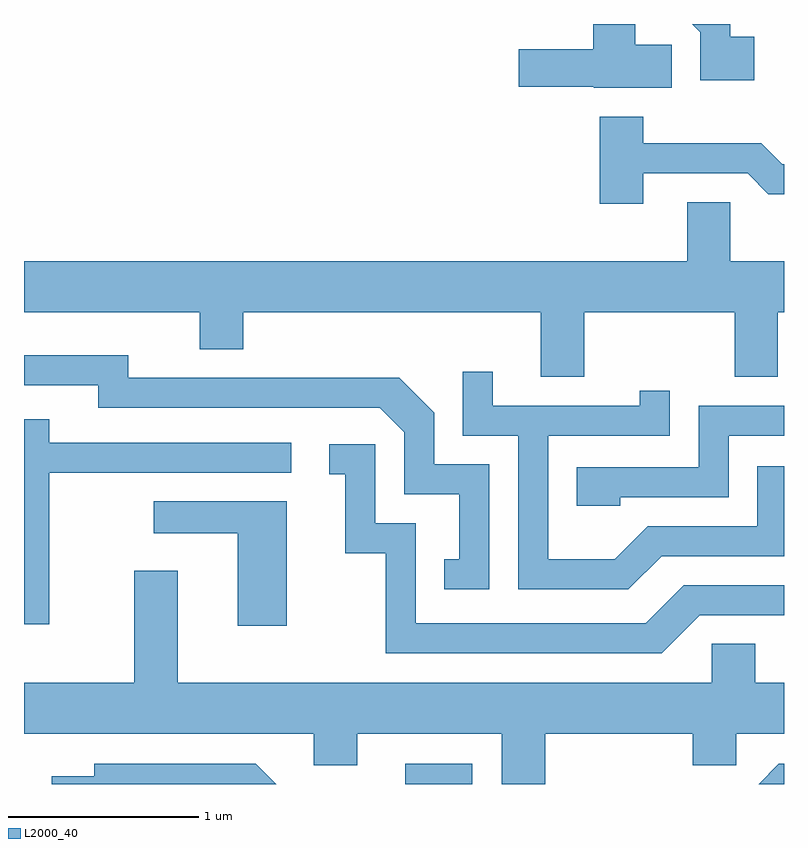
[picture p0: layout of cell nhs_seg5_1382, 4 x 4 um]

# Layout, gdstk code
import gdstk
lib = gdstk.Library(unit=1e-6, precision=1e-09)
def R(c, l, rs):  # rectangles x0, y0, x1, y1
    for r in rs: c.add(gdstk.rectangle(r[:2], r[2:], *l))
def P(c, l, *ps):  # polygons
    for p in ps: c.add(gdstk.Polygon(p, *l))
L2000_40 = (2000, 40)

nhs_seg5_1382 = lib.new_cell('nhs_seg5_1382')
R(nhs_seg5_1382, L2000_40, [(227.618,1472.072,227.969,1472.179)])
P(nhs_seg5_1382, L2000_40, [(229.454,1476.004),(229.329,1476.004),(229.329,1476.072),(229.128,1476.072),(229.171,1476.029),(229.171,1475.776),(229.454,1475.776)],
  [(229.019,1475.964),(228.829,1475.964),(228.829,1476.072),(228.606,1476.072),(228.606,1475.939),(228.216,1475.939),(228.216,1475.741),(228.61,1475.741),(228.61,1475.736),(229.019,1475.736)],
  [(228.869,1475.286),(229.419,1475.286),(229.529,1475.176),(229.611,1475.176),(229.611,1475.334),(229.602,1475.334),(229.492,1475.444),(228.869,1475.444),(228.869,1475.584),(228.641,1475.584),(228.641,1475.126),(228.869,1475.126)],
  [(228.559,1474.556),(229.351,1474.556),(229.351,1474.216),(229.579,1474.216),(229.579,1474.556),(229.611,1474.556),(229.611,1474.824),(229.329,1474.824),(229.329,1475.134),(229.101,1475.134),(229.101,1474.824),(225.611,1474.824),(225.611,1474.556),(226.536,1474.556),(226.536,1474.361),(226.764,1474.361),(226.764,1474.556),(228.331,1474.556),(228.331,1474.216),(228.559,1474.216)],
  [(228.059,1473.754),(227.769,1473.754),(227.769,1474.027),(227.587,1474.209),(226.159,1474.209),(226.159,1474.329),(225.611,1474.329),(225.611,1474.171),(226.001,1474.171),(226.001,1474.051),(227.484,1474.051),(227.611,1473.924),(227.611,1473.596),(227.901,1473.596),(227.901,1473.254),(227.823,1473.254),(227.823,1473.096),(228.059,1473.096)],
  [(228.967,1473.271),(229.611,1473.271),(229.611,1473.744),(229.471,1473.744),(229.471,1473.429),(228.894,1473.429),(228.719,1473.254),(228.369,1473.254),(228.369,1473.906),(229.009,1473.906),(229.009,1474.143),(228.851,1474.143),(228.851,1474.064),(228.079,1474.064),(228.079,1474.243),(227.921,1474.243),(227.921,1473.906),(228.211,1473.906),(228.211,1473.096),(228.792,1473.096)],
  [(228.749,1473.581),(229.319,1473.581),(229.319,1473.906),(229.611,1473.906),(229.611,1474.064),(229.161,1474.064),(229.161,1473.739),(228.521,1473.739),(228.521,1473.536),(228.749,1473.536)],
  [(225.744,1473.711),(227.018,1473.711),(227.018,1473.869),(225.744,1473.869),(225.744,1473.993),(225.611,1473.993),(225.611,1472.913),(225.744,1472.913)],
  [(229.167,1472.961),(229.611,1472.961),(229.611,1473.119),(229.084,1473.119),(228.884,1472.919),(227.674,1472.919),(227.674,1473.444),(227.459,1473.444),(227.459,1473.859),(227.218,1473.859),(227.218,1473.701),(227.301,1473.701),(227.301,1473.286),(227.516,1473.286),(227.516,1472.761),(228.967,1472.761)],
  [(226.994,1473.559),(226.293,1473.559),(226.293,1473.391),(226.736,1473.391),(226.736,1472.906),(226.994,1472.906)],
  [(228.354,1472.336),(229.131,1472.336),(229.131,1472.171),(229.359,1472.171),(229.359,1472.336),(229.611,1472.336),(229.611,1472.604),(229.459,1472.604),(229.459,1472.809),(229.231,1472.809),(229.231,1472.604),(226.419,1472.604),(226.419,1473.194),(226.191,1473.194),(226.191,1472.604),(225.611,1472.604),(225.611,1472.336),(227.136,1472.336),(227.136,1472.171),(227.364,1472.171),(227.364,1472.336),(228.126,1472.336),(228.126,1472.072),(228.354,1472.072)],
  [(226.832,1472.179),(225.981,1472.179),(225.981,1472.114),(225.756,1472.114),(225.756,1472.072),(226.939,1472.072)],
  [(229.611,1472.179),(229.584,1472.179),(229.477,1472.072),(229.611,1472.072)])

lib.write_gds('nhs_seg5_1382.gds')
